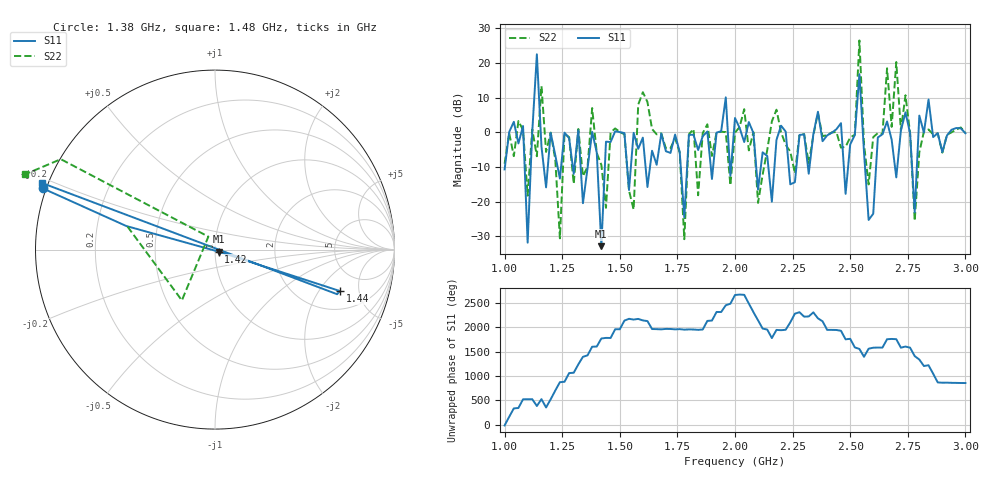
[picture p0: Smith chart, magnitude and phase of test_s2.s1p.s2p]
# MHz S MA R 50
!  freq  S11  S21  S12  S22
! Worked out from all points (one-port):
!   101 points, 1 GHz to 3 GHz, reference 50 ohm
!   lowest |S11| = -32.9 dB at 1.42 GHz (marker M1), VSWR 1.05, Z = 52 - j1.18 ohm
!   |S11| at or under -10 dB: 1.33 GHz to 1.361 GHz (30.63 MHz wide, 2.28 % of centre); 2.233 GHz to 2.266 GHz (33.06 MHz wide, 1.47 % of centre); 2.564 GHz to 2.612 GHz (48 MHz wide, 1.85 % of centre) (the widest 3 of 20)
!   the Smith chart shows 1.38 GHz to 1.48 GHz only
!   S11 on the Smith chart (normalised r, x): 1.38 GHz: -0.01, +0.17; 1.42 GHz: 1.04, -0.02; 1.44 GHz: 3.17, -3.16; 1.48 GHz: -0.02, +0.19
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1000  0.2909 -13.8  0 180.0  0 180.0  0.3526 -13.9
1120  1.016 164.1  0 -0.0  0 -0.0  1.105 163.9
1140  13.39 25.4  0 0.0  0 -0.0  0.4514 -15.0
1160  0.6225 165.7  0 -0.0  0 180.0  4.661 -68.5
1340  0.0947 -46.6  0 0.0  0 180.0  0.2329 162.6
1380  1.017 160.4  0 0.0  0 -0.0  2.242 175.7
1420  0.02267 -30.1  0 -0.0  0 180.0  0.3378 -123.1
1440  0.7327 -18.4  0 0.0  0 180.0  0.08115 117.0
1480  1.035 158.9  0 -0.0  0 0.0  1.138 158.4
1600  0.8378 -20.0  0 -0.0  0 0.0  3.798 7.7
1680  0.9593 157.2  0 180.0  0 180.0  0.9681 157.1
2000  1.612 141.0  0 0.0  0 180.0  0.9885 -25.0
2340  0.9356 145.1  0 0.0  0 -0.0  0.903 145.5
2520  0.9137 146.7  0 -0.0  0 -0.0  0.9238 146.5
2540  6.922 115.3  0 -0.0  0 -0.0  21.24 73.4
2560  0.5097 -45.7  0 0.0  0 0.0  0.6685 -47.9
2640  0.9369 142.9  0 -0.0  0 -0.0  0.9487 143.0
2660  1.436 -45.5  0 -0.0  0 0.0  8.414 -67.6
2680  0.7802 -40.0  0 0.0  0 0.0  1.2 -40.0
2700  0.2234 -44.9  0 180.0  0 0.0  10.36 -102.2
2720  1.059 141.2  0 0.0  0 0.0  1.071 141.2
3000  0.9696 135.9  0 0.0  0 0.0  0.98 134.9
